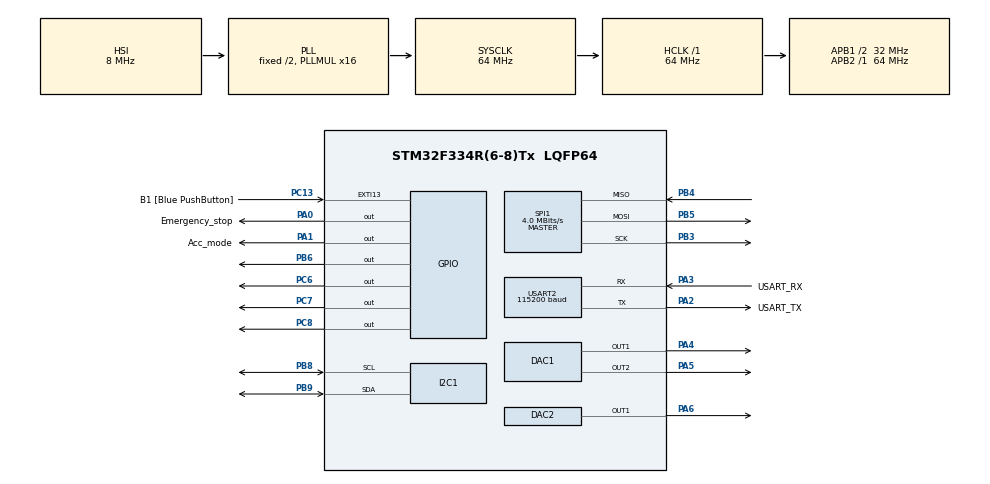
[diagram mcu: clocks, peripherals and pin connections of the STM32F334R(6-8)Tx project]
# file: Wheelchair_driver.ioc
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DAC1.DAC_OutputBuffer=DAC_OUTPUTBUFFER_ENABLE
DAC1.DAC_Trigger=DAC_TRIGGER_NONE
Dma.DAC1_CH1.0.Direction=DMA_MEMORY_TO_PERIPH
Dma.DAC1_CH1.0.Instance=DMA1_Channel3
Dma.DAC1_CH1.0.MemDataAlignment=DMA_MDATAALIGN_HALFWORD
Dma.DAC1_CH1.0.MemInc=DMA_MINC_ENABLE
Dma.DAC1_CH1.0.Mode=DMA_CIRCULAR
Dma.DAC1_CH1.0.PeriphDataAlignment=DMA_PDATAALIGN_HALFWORD
Dma.DAC1_CH1.0.PeriphInc=DMA_PINC_DISABLE
Dma.DAC1_CH1.0.Priority=DMA_PRIORITY_HIGH
Dma.DAC1_CH2.1.Direction=DMA_MEMORY_TO_PERIPH
Dma.DAC1_CH2.1.Instance=DMA1_Channel4
Dma.DAC1_CH2.1.MemDataAlignment=DMA_MDATAALIGN_HALFWORD
Dma.DAC1_CH2.1.MemInc=DMA_MINC_ENABLE
Dma.DAC1_CH2.1.Mode=DMA_CIRCULAR
Dma.DAC1_CH2.1.PeriphDataAlignment=DMA_PDATAALIGN_HALFWORD
Dma.DAC1_CH2.1.PeriphInc=DMA_PINC_DISABLE
Dma.DAC1_CH2.1.Priority=DMA_PRIORITY_HIGH
Dma.DAC2_CH1.2.Direction=DMA_MEMORY_TO_PERIPH
Dma.DAC2_CH1.2.Instance=DMA1_Channel5
Dma.DAC2_CH1.2.MemDataAlignment=DMA_MDATAALIGN_HALFWORD
Dma.DAC2_CH1.2.MemInc=DMA_MINC_ENABLE
Dma.DAC2_CH1.2.Mode=DMA_CIRCULAR
Dma.DAC2_CH1.2.PeriphDataAlignment=DMA_PDATAALIGN_HALFWORD
Dma.DAC2_CH1.2.PeriphInc=DMA_PINC_DISABLE
Dma.DAC2_CH1.2.Priority=DMA_PRIORITY_LOW
Dma.Request0=DAC1_CH1
Dma.Request1=DAC1_CH2
Dma.Request2=DAC2_CH1
I2C1.DualAddressMode=I2C_DUALADDRESS_DISABLE
I2C1.GeneralCallMode=I2C_GENERALCALL_DISABLE
I2C1.NoStretchMode=I2C_NOSTRETCH_DISABLE
I2C1.OwnAddress=68
I2C1.Speed=100
Mcu.Family=STM32F3
Mcu.Name=STM32F334R(6-8)Tx
Mcu.Package=LQFP64
NVIC.DMA1_Channel3_IRQn=true\:0\:0\:false\:false\:true\:false\:true\:true
NVIC.DMA1_Channel4_IRQn=true\:0\:0\:false\:false\:true\:false\:true\:true
NVIC.DMA1_Channel5_IRQn=true\:0\:0\:false\:false\:true\:false\:true\:true
NVIC.PriorityGroup=NVIC_PRIORITYGROUP_0
PA0.GPIO_Label=Emergency_stop
PA0.GPIO_ModeDefaultOutputPP=GPIO_MODE_OUTPUT_OD
PA0.GPIO_PuPd=GPIO_PULLUP
PA0.Signal=GPIO_Output
PA1.GPIO_Label=Acc_mode
PA1.GPIO_ModeDefaultOutputPP=GPIO_MODE_OUTPUT_OD
PA1.GPIO_PuPd=GPIO_PULLUP
PA1.Signal=GPIO_Output
PA13.GPIO_Label=TMS
PA13.Mode=Serial_Wire
PA13.Signal=SYS_JTMS-SWDIO
PA14.GPIO_Label=TCK
PA14.Mode=Serial_Wire
PA14.Signal=SYS_JTCK-SWCLK
PA2.GPIO_Label=USART_TX
PA2.Mode=Asynchronous
PA2.Signal=USART2_TX
PA3.GPIO_Label=USART_RX
PA3.Mode=Asynchronous
PA3.Signal=USART2_RX
PA4.Signal=COMP_DAC11_group
PA5.Signal=COMP_DAC12_group
PA6.Signal=COMP_DAC21_group
PB3.Mode=Full_Duplex_Master
PB3.Signal=SPI1_SCK
PB4.Mode=Full_Duplex_Master
PB4.Signal=SPI1_MISO
PB5.Mode=Full_Duplex_Master
PB5.Signal=SPI1_MOSI
PB6.GPIO_FM6=__NULL
PB6.GPIO_Speed=GPIO_SPEED_FREQ_LOW
PB6.Signal=GPIO_Output
PB8.GPIO_FM8=__NULL
PB8.GPIO_Pu=GPIO_NOPULL
PB8.GPIO_Speed=GPIO_SPEED_FREQ_LOW
PB8.Mode=I2C
PB8.Signal=I2C1_SCL
PB9.GPIO_FM9=__NULL
PB9.GPIO_Pu=GPIO_NOPULL
PB9.GPIO_Speed=GPIO_SPEED_FREQ_LOW
PB9.Mode=I2C
PB9.Signal=I2C1_SDA
PC13.GPIO_Label=B1 [Blue PushButton]
PC13.GPIO_ModeDefaultEXTI=GPIO_MODE_IT_FALLING
PC13.Signal=GPXTI13
PC14\ /\ OSC32_IN.Signal=RCC_OSC32_IN
PC15\ /\ OSC32_OUT.GPIO_Label=RCC_OSC32_OUT
PC15\ /\ OSC32_OUT.Signal=RCC_OSC32_OUT
PC6.GPIO_PuPd=GPIO_NOPULL
PC6.GPIO_Speed=GPIO_SPEED_FREQ_LOW
PC6.Signal=GPIO_Output
PC7.Signal=GPIO_Output
PC8.GPIO_PuPd=GPIO_NOPULL
PC8.GPIO_Speed=GPIO_SPEED_FREQ_LOW
PC8.Signal=GPIO_Output
PF0\ /\ OSC_IN.Mode=HSE-External-Clock-Source
PF0\ /\ OSC_IN.Signal=RCC_OSC_IN
PF1\ /\ OSC_OUT.Signal=RCC_OSC_OUT
ProjectManager.HeapSize=0x200
ProjectManager.StackSize=0x400
ProjectManager.TargetToolchain=STM32CubeIDE
RCC.AHBFreq_Value=64000000
RCC.APB1CLKDivider=RCC_HCLK_DIV2
RCC.APB1Freq_Value=32000000
RCC.APB1TimFreq_Value=64000000
RCC.APB2Freq_Value=64000000
RCC.APB2TimFreq_Value=64000000
RCC.CortexFreq_Value=64000000
RCC.FLatency-AdvancedSettings=FLASH_LATENCY_2
RCC.HCLKFreq_Value=64000000
RCC.HSE_VALUE=32000000
RCC.HSI_VALUE=8000000
RCC.LSE_VALUE=32768
RCC.PLLMUL=RCC_PLL_MUL16
RCC.SYSCLKFreq_VALUE=64000000
RCC.SYSCLKSourceVirtual=RCC_SYSCLKSOURCE_PLLCLK
SH.COMP_DAC11_group.0=DAC1_OUT1,DAC_OUT1
SH.COMP_DAC12_group.0=DAC1_OUT2,DAC_OUT2
SH.COMP_DAC21_group.0=DAC2_OUT1,Switch_Enable_OUT1
SPI1.BaudRatePrescaler=SPI_BAUDRATEPRESCALER_16
SPI1.CalculateBaudRate=4.0 MBits/s
SPI1.DataSize=SPI_DATASIZE_8BIT
SPI1.Direction=SPI_DIRECTION_2LINES
SPI1.Mode=SPI_MODE_MASTER
SPI1.VirtualType=VM_MASTER
USART2.BaudRate=115200
USART2.VirtualMode-Asynchronous=VM_ASYNC
board=NUCLEO-F334R8

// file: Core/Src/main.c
/* USER CODE BEGIN Header */
/**
  ******************************************************************************
  * @file           : main.c
  * @brief          : Main program body
  ******************************************************************************
  * @attention
  *
  * Copyright (c) 2022 STMicroelectronics.
  * All rights reserved.
  *
  * This software is licensed under terms that can be found in the LICENSE file
  * in the root directory of this software component.
  * If no LICENSE file comes with this software, it is provided AS-IS.
  *
  ******************************************************************************
  */
/* USER CODE END Header */
#include "main.h"

/* USER CODE BEGIN Includes */

#include "stdio.h"
#include "math.h"
#include "stdlib.h"
#include "string.h"
#include "stm32f3xx_hal.h"
#include "NRF24L01.h"

#define sensor_1_select GPIO_PIN_6
#define sensor_2_select GPIO_PIN_8

/* USER CODE END Includes */

DAC_HandleTypeDef hdac1;
DAC_HandleTypeDef hdac2;
DMA_HandleTypeDef hdma_dac1_ch1;
DMA_HandleTypeDef hdma_dac1_ch2;
DMA_HandleTypeDef hdma_dac2_ch1;

I2C_HandleTypeDef hi2c1;

SPI_HandleTypeDef hspi1;

UART_HandleTypeDef huart2;

void SystemClock_Config(void);
static void MX_GPIO_Init(void);
static void MX_DMA_Init(void);
static void MX_USART2_UART_Init(void);
static void MX_DAC1_Init(void);
static void MX_I2C1_Init(void);
static void MX_SPI1_Init(void);
static void MX_DAC2_Init(void);

/* USER CODE BEGIN 0 */

#define MPU6050_ADDR 0xD0

#define SMPLRT_DIV_REG 0x19
#define GYRO_CONFIG_REG 0x1B
#define ACCEL_CONFIG_REG 0x1C
#define ACCEL_XOUT_H_REG 0x3B
#define TEMP_OUT_H_REG 0x41
#define GYRO_XOUT_H_REG 0x43
#define PWR_MGMT_1_REG 0x6B
#define WHO_AM_I_REG 0x75

int16_t Accel_X_RAW = 0;
int16_t Accel_Y_RAW = 0;
int16_t Accel_Z_RAW = 0;

int16_t Gyro_X_RAW = 0;
int16_t Gyro_Y_RAW = 0;
int16_t Gyro_Z_RAW = 0;

float Ax, Ay, Az, Gx, Gy, Gz;

void MPU6050_Init (void)
{
	uint8_t check;
	uint8_t Data;

	// check device ID WHO_AM_I

	HAL_I2C_Mem_Read (&hi2c1, MPU6050_ADDR,WHO_AM_I_REG,1, &check, 1, 1000);

	if (check == 104)  // 0x68 will be returned by the first sensor if everything goes well
	{
		// power management register 0X6B we should write all 0's to wake the sensor up
		Data = 0;
		HAL_I2C_Mem_Write(&hi2c1, MPU6050_ADDR, PWR_MGMT_1_REG, 1,&Data, 1, 1000);

		// Set DATA RATE of 1KHz by writing SMPLRT_DIV register
		Data = 0x07;
		HAL_I2C_Mem_Write(&hi2c1, MPU6050_ADDR, SMPLRT_DIV_REG, 1, &Data, 1, 1000);

		// Set accelerometer configuration in ACCEL_CONFIG Register
		// XA_ST=0,YA_ST=0,ZA_ST=0, FS_SEL=0 -> ± 2g
		Data = 0x00;
		HAL_I2C_Mem_Write(&hi2c1, MPU6050_ADDR, ACCEL_CONFIG_REG, 1, &Data, 1, 1000);

		// Set Gyroscopic configuration in GYRO_CONFIG Register
		// XG_ST=0,YG_ST=0,ZG_ST=0, FS_SEL=0 -> ± 250 °/s
		Data = 0x00;
		HAL_I2C_Mem_Write(&hi2c1, MPU6050_ADDR, GYRO_CONFIG_REG, 1, &Data, 1, 1000);
	}
}

void MPU6050_Read_Accel (void)
{
	uint8_t Rec_Data[6];

	// Read 6 BYTES of data starting from ACCEL_XOUT_H register

			HAL_I2C_Mem_Read (&hi2c1, MPU6050_ADDR, ACCEL_XOUT_H_REG, 1, Rec_Data, 6, 1000);

			Accel_X_RAW = (int16_t)(Rec_Data[0] << 8 | Rec_Data [1]);
			Accel_Y_RAW = (int16_t)(Rec_Data[2] << 8 | Rec_Data [3]);
			Accel_Z_RAW = (int16_t)(Rec_Data[4] << 8 | Rec_Data [5]);

	/*** convert the RAW values into acceleration in 'g'
	     we have to divide according to the Full scale value set in FS_SEL
	     I have configured FS_SEL = 0. So I am dividing by 16384.0
	     for more details check ACCEL_CONFIG Register              ****/

	Ax = Accel_X_RAW/16384.0;
	Ay = Accel_Y_RAW/16384.0;
	Az = Accel_Z_RAW/16384.0;

}

void MPU6050_Read_Gyro (void)
{
	uint8_t Rec_Data[6];

	// Read 6 BYTES of data starting from GYRO_XOUT_H register

	HAL_I2C_Mem_Read (&hi2c1, MPU6050_ADDR, GYRO_XOUT_H_REG, 1, Rec_Data, 6, 1000);

	Gyro_X_RAW = (int16_t)(Rec_Data[0] << 8 | Rec_Data [1]);
	Gyro_Y_RAW = (int16_t)(Rec_Data[2] << 8 | Rec_Data [3]);
	Gyro_Z_RAW = (int16_t)(Rec_Data[4] << 8 | Rec_Data [5]);

	/*** convert the RAW values into dps (°/s)
	     we have to divide according to the Full scale value set in FS_SEL
	     I have configured FS_SEL = 0. So I am dividing by 131.0
	     for more details check GYRO_CONFIG Register              ****/

	Gx = Gyro_X_RAW/131.0;
	Gy = Gyro_Y_RAW/131.0;
	Gz = Gyro_Z_RAW/131.0;

}

uint8_t RxAddress[] = {0xEE,0xDD,0xCC,0xBB,0xAA};		//Define NRF24L01 communication variables
uint8_t RxData[32];
uint8_t data[50];

uint8_t TxAddress[] = {0xEE,0xDD,0xCC,0xBB,0xAA};
uint8_t TxData[6];

/* USER CODE END 0 */

int main(void)
{
  /* USER CODE BEGIN 1 */
	//uint8_t MSG[150] = {'\0'};

	double Emergency_stop = 0, x_in = 0, y_in = 0, Acc_mode = 0, step = 0, reset = 0;

	//ADC filter variables

	int M = 10;									//Filter length
	double xM1[M], yM1[M];
	double xf = 0, yf = 0, Vo_L = 0, Vo_R = 0, angle_scale = 0;

  /* USER CODE END 1 */

  /* MCU Configuration--------------------------------------------------------*/

  /* Reset of all peripherals, Initializes the Flash interface and the Systick. */
  HAL_Init();

  /* Configure the system clock */
  SystemClock_Config();

  /* Initialize all configured peripherals */
  MX_GPIO_Init();
  MX_DMA_Init();
  MX_USART2_UART_Init();
  MX_DAC1_Init();
  MX_I2C1_Init();
  MX_SPI1_Init();
  MX_DAC2_Init();
  /* USER CODE BEGIN 2 */

  MPU6050_Init();
  HAL_DAC_Start_DMA(&hdac1, DAC_CHANNEL_1, (uint32_t)Vo_L, 2, DAC_ALIGN_12B_R);
  HAL_DAC_Start_DMA(&hdac2, DAC_CHANNEL_1, (uint32_t)Vo_R, 2, DAC_ALIGN_12B_R);

  /* USER CODE END 2 */

  /* Infinite loop */
  while (1)
  {

    /* USER CODE BEGIN 3 */

/***************************************************************************************************************************************************************************************/
/***************************************************************************************************************************************************************************************/

	  //Sensor input data

	  HAL_GPIO_WritePin(GPIOC, sensor_1_select, GPIO_PIN_SET);		//Select sensor 1 address
	  HAL_GPIO_WritePin(GPIOC, sensor_2_select, GPIO_PIN_RESET);		//Reset sensor 2 address
	  HAL_Delay(50);													//Let pins settle
	  MPU6050_Read_Accel();											//Read sensor 1 accelerometer data

	  TxData[0] = (uint8_t)((Ax*63.75)+127.5);
	  TxData[1] = (uint8_t)((Ay*63.75)+127.5);
	  TxData[2] = (uint8_t)((Az*63.75)+127.5);

	  HAL_GPIO_WritePin(GPIOC, sensor_1_select, GPIO_PIN_RESET);		//Reset sensor 1 address
	  HAL_GPIO_WritePin(GPIOC, sensor_2_select, GPIO_PIN_SET);		//Select sensor 2 address
	  HAL_Delay(1);													//Let pins settle
	  MPU6050_Read_Accel();											//Read sensor 2 accelerometer data

	  TxData[3] = (uint8_t)((Ax*63.75)+127.5);
	  TxData[4] = (uint8_t)((Ay*63.75)+127.5);
	  TxData[5] = (uint8_t)((Az*63.75)+127.5);

/***************************************************************************************************************************************************************************************/
/***************************************************************************************************************************************************************************************/

	  //Communication setup

	  	NRF24_Init();
		NRF24_RxMode(RxAddress, 10);
		NRF24_ReadAll(data);

		if (isDataAvailable(1) == 1)
			  		  {
			  			NRF24_Receive(RxData);

			  			Emergency_stop = RxData[0];
			  			x_in = RxData[1];
			  			y_in =RxData[2];
			  			Acc_mode = RxData[3];
			  			reset = RxData[4];
			  			step = RxData[5];

			  			if (Emergency_stop == 0){
			  				HAL_GPIO_WritePin(GPIOA, GPIO_PIN_1, GPIO_PIN_SET);
			  			}
			  			if (Emergency_stop == 1){
			  				HAL_GPIO_WritePin(GPIOA, GPIO_PIN_1, GPIO_PIN_RESET);
			  			}

			  			if (Acc_mode == 0){
			  				HAL_GPIO_WritePin(GPIOA, GPIO_PIN_0, GPIO_PIN_RESET);
			  			}
			  			else if (Acc_mode == 1){
			  				HAL_GPIO_WritePin(GPIOA, GPIO_PIN_0, GPIO_PIN_SET);
			  			}

			  			if (reset == 1){
			  				HAL_NVIC_SystemReset();
			  			}

			NRF24_Init();
			NRF24_TxMode(TxAddress, 10);
			NRF24_Transmit(TxData);

		  }

/***************************************************************************************************************************************************************************************/
/***************************************************************************************************************************************************************************************/

		//Moving average filter 1

			  double xtemp = 0, ytemp = 0;		//Declare temporary variables

			  for (int m = M - 1; m >= 0; m--){		//Use M-point arrays to store variable data
				  if (m > 0){						//For every instance other than the current time instant
					  xM1[m] = xM1[m-1];			//Shift values in array down by a single space
					  yM1[m] = yM1[m-1];
				  }
				  else if (m == 0){					//For only the current time instant
					  xM1[m] = x_in;				//Store the value in the single space made by shifting other variables
					  yM1[m] = (y_in - 127);
				  }

				  xtemp = xtemp + xM1[m];	//Sum of points
				  ytemp = ytemp + yM1[m];
			  }

			  xf = xtemp / M;
			  yf = ytemp / M;

/***************************************************************************************************************************************************************************************/
/***************************************************************************************************************************************************************************************/

			  //Motor output conversions

			  if (xf <= yf){
				  angle_scale = 4;
			  }
			  else if (xf > yf){
				  angle_scale = 2;
			  }
			  else if (xf > 2*yf){
				  angle_scale = 1;
			  }

			  int offset = 2000, multiplier = 1, max = 2750;

			  if (step == 0){
				  Vo_L = (multiplier * (xf + (yf / angle_scale))) + offset; //Max voltage and speed at 11x scaling constant.
				  Vo_R = (multiplier * (xf - (yf / angle_scale))) + offset; //With no offset
			  }

			  else if (step == 1){
				 Vo_L = max;
				 Vo_R = max;
			  }

			  HAL_DAC_SetValue(&hdac1, DAC_CHANNEL_1, DAC_ALIGN_12B_R, (uint32_t)Vo_L);
			  HAL_DAC_SetValue(&hdac1, DAC_CHANNEL_2, DAC_ALIGN_12B_R, (uint32_t)Vo_R);

/***************************************************************************************************************************************************************************************/
/***************************************************************************************************************************************************************************************/

	  			//sprintf(MSG, "\r\nA_x1 = %d  A_y1 = %d  A_z1 = %d\r\n\rA_x2 = %d  A_y2 = %d  A_z2 = %d\r\n", (int)Ax_1, (int)Ay_1, (int)Az_1, (int)Ax_2, (int)Ay_2, (int)Az_2);
	  			//HAL_UART_Transmit(&huart2, MSG, sizeof(MSG), 100);
	  			//HAL_Delay(10);
  }
  /* USER CODE END 3 */
}

void SystemClock_Config(void)
{
  RCC_OscInitTypeDef RCC_OscInitStruct = {0};
  RCC_ClkInitTypeDef RCC_ClkInitStruct = {0};
  RCC_PeriphCLKInitTypeDef PeriphClkInit = {0};

  /** Initializes the RCC Oscillators according to the specified parameters
  * in the RCC_OscInitTypeDef structure.
  */
  RCC_OscInitStruct.OscillatorType = RCC_OSCILLATORTYPE_HSI;
  RCC_OscInitStruct.HSIState = RCC_HSI_ON;
  RCC_OscInitStruct.HSICalibrationValue = RCC_HSICALIBRATION_DEFAULT;
  RCC_OscInitStruct.PLL.PLLState = RCC_PLL_ON;
  RCC_OscInitStruct.PLL.PLLSource = RCC_PLLSOURCE_HSI;
  RCC_OscInitStruct.PLL.PLLMUL = RCC_PLL_MUL16;
  if (HAL_RCC_OscConfig(&RCC_OscInitStruct) != HAL_OK)
  {
    Error_Handler();
  }

  /** Initializes the CPU, AHB and APB buses clocks
  */
  RCC_ClkInitStruct.ClockType = RCC_CLOCKTYPE_HCLK|RCC_CLOCKTYPE_SYSCLK
                              |RCC_CLOCKTYPE_PCLK1|RCC_CLOCKTYPE_PCLK2;
  RCC_ClkInitStruct.SYSCLKSource = RCC_SYSCLKSOURCE_PLLCLK;
  RCC_ClkInitStruct.AHBCLKDivider = RCC_SYSCLK_DIV1;
  RCC_ClkInitStruct.APB1CLKDivider = RCC_HCLK_DIV2;
  RCC_ClkInitStruct.APB2CLKDivider = RCC_HCLK_DIV1;

  if (HAL_RCC_ClockConfig(&RCC_ClkInitStruct, FLASH_LATENCY_2) != HAL_OK)
  {
    Error_Handler();
  }
  PeriphClkInit.PeriphClockSelection = RCC_PERIPHCLK_I2C1;
  PeriphClkInit.I2c1ClockSelection = RCC_I2C1CLKSOURCE_HSI;
  if (HAL_RCCEx_PeriphCLKConfig(&PeriphClkInit) != HAL_OK)
  {
    Error_Handler();
  }
}

static void MX_DAC1_Init(void)
{

  DAC_ChannelConfTypeDef sConfig = {0};

  /** DAC Initialization
  */
  hdac1.Instance = DAC1;
  if (HAL_DAC_Init(&hdac1) != HAL_OK)
  {
    Error_Handler();
  }

  /** DAC channel OUT1 config
  */
  sConfig.DAC_Trigger = DAC_TRIGGER_NONE;
  sConfig.DAC_OutputBuffer = DAC_OUTPUTBUFFER_ENABLE;
  if (HAL_DAC_ConfigChannel(&hdac1, &sConfig, DAC_CHANNEL_1) != HAL_OK)
  {
    Error_Handler();
  }

  /** DAC channel OUT2 config
  */
  sConfig.DAC_OutputSwitch = DAC_OUTPUTSWITCH_ENABLE;
  if (HAL_DAC_ConfigChannel(&hdac1, &sConfig, DAC_CHANNEL_2) != HAL_OK)
  {
    Error_Handler();
  }

}

static void MX_DAC2_Init(void)
{

  DAC_ChannelConfTypeDef sConfig = {0};

  /** DAC Initialization
  */
  hdac2.Instance = DAC2;
  if (HAL_DAC_Init(&hdac2) != HAL_OK)
  {
    Error_Handler();
  }

  /** DAC channel OUT1 config
  */
  sConfig.DAC_Trigger = DAC_TRIGGER_NONE;
  sConfig.DAC_OutputSwitch = DAC_OUTPUTSWITCH_ENABLE;
  if (HAL_DAC_ConfigChannel(&hdac2, &sConfig, DAC_CHANNEL_1) != HAL_OK)
  {
    Error_Handler();
  }

}

static void MX_I2C1_Init(void)
{

  hi2c1.Instance = I2C1;
  hi2c1.Init.Timing = 0x2000090E;
  hi2c1.Init.OwnAddress1 = 136;
  hi2c1.Init.AddressingMode = I2C_ADDRESSINGMODE_7BIT;
  hi2c1.Init.DualAddressMode = I2C_DUALADDRESS_DISABLE;
  hi2c1.Init.OwnAddress2 = 0;
  hi2c1.Init.OwnAddress2Masks = I2C_OA2_NOMASK;
  hi2c1.Init.GeneralCallMode = I2C_GENERALCALL_DISABLE;
  hi2c1.Init.NoStretchMode = I2C_NOSTRETCH_DISABLE;
  if (HAL_I2C_Init(&hi2c1) != HAL_OK)
  {
    Error_Handler();
  }

  /** Configure Analogue filter
  */
  if (HAL_I2CEx_ConfigAnalogFilter(&hi2c1, I2C_ANALOGFILTER_ENABLE) != HAL_OK)
  {
    Error_Handler();
  }

  /** Configure Digital filter
  */
  if (HAL_I2CEx_ConfigDigitalFilter(&hi2c1, 0) != HAL_OK)
  {
    Error_Handler();
  }

}

static void MX_SPI1_Init(void)
{

  /* SPI1 parameter configuration*/
  hspi1.Instance = SPI1;
  hspi1.Init.Mode = SPI_MODE_MASTER;
  hspi1.Init.Direction = SPI_DIRECTION_2LINES;
  hspi1.Init.DataSize = SPI_DATASIZE_8BIT;
  hspi1.Init.CLKPolarity = SPI_POLARITY_LOW;
  hspi1.Init.CLKPhase = SPI_PHASE_1EDGE;
  hspi1.Init.NSS = SPI_NSS_SOFT;
  hspi1.Init.BaudRatePrescaler = SPI_BAUDRATEPRESCALER_16;
  hspi1.Init.FirstBit = SPI_FIRSTBIT_MSB;
  hspi1.Init.TIMode = SPI_TIMODE_DISABLE;
  hspi1.Init.CRCCalculation = SPI_CRCCALCULATION_DISABLE;
  hspi1.Init.CRCPolynomial = 7;
  hspi1.Init.CRCLength = SPI_CRC_LENGTH_DATASIZE;
  hspi1.Init.NSSPMode = SPI_NSS_PULSE_ENABLE;
  if (HAL_SPI_Init(&hspi1) != HAL_OK)
  {
    Error_Handler();
  }

}

static void MX_USART2_UART_Init(void)
{

  huart2.Instance = USART2;
  huart2.Init.BaudRate = 115200;
  huart2.Init.WordLength = UART_WORDLENGTH_8B;
  huart2.Init.StopBits = UART_STOPBITS_1;
  huart2.Init.Parity = UART_PARITY_NONE;
  huart2.Init.Mode = UART_MODE_TX_RX;
  huart2.Init.HwFlowCtl = UART_HWCONTROL_NONE;
  huart2.Init.OverSampling = UART_OVERSAMPLING_16;
  huart2.Init.OneBitSampling = UART_ONE_BIT_SAMPLE_DISABLE;
  huart2.AdvancedInit.AdvFeatureInit = UART_ADVFEATURE_NO_INIT;
  if (HAL_UART_Init(&huart2) != HAL_OK)
  {
    Error_Handler();
  }

}

static void MX_DMA_Init(void)
{

  /* DMA controller clock enable */
  __HAL_RCC_DMA1_CLK_ENABLE();

  /* DMA interrupt init */
  /* DMA1_Channel3_IRQn interrupt configuration */
  HAL_NVIC_SetPriority(DMA1_Channel3_IRQn, 0, 0);
  HAL_NVIC_EnableIRQ(DMA1_Channel3_IRQn);
  /* DMA1_Channel4_IRQn interrupt configuration */
  HAL_NVIC_SetPriority(DMA1_Channel4_IRQn, 0, 0);
  HAL_NVIC_EnableIRQ(DMA1_Channel4_IRQn);
  /* DMA1_Channel5_IRQn interrupt configuration */
  HAL_NVIC_SetPriority(DMA1_Channel5_IRQn, 0, 0);
  HAL_NVIC_EnableIRQ(DMA1_Channel5_IRQn);

}

static void MX_GPIO_Init(void)
{
  GPIO_InitTypeDef GPIO_InitStruct = {0};

  /* GPIO Ports Clock Enable */
  __HAL_RCC_GPIOC_CLK_ENABLE();
  __HAL_RCC_GPIOF_CLK_ENABLE();
  __HAL_RCC_GPIOA_CLK_ENABLE();
  __HAL_RCC_GPIOB_CLK_ENABLE();

  /*Configure GPIO pin Output Level */
  HAL_GPIO_WritePin(GPIOA, Emergency_stop_Pin|Acc_mode_Pin, GPIO_PIN_RESET);

  /*Configure GPIO pin Output Level */
  HAL_GPIO_WritePin(GPIOC, GPIO_PIN_6|GPIO_PIN_7|GPIO_PIN_8, GPIO_PIN_RESET);

  /*Configure GPIO pin Output Level */
  HAL_GPIO_WritePin(GPIOB, GPIO_PIN_6, GPIO_PIN_RESET);

  /*Configure GPIO pin : B1_Pin */
  GPIO_InitStruct.Pin = B1_Pin;
  GPIO_InitStruct.Mode = GPIO_MODE_IT_FALLING;
  GPIO_InitStruct.Pull = GPIO_NOPULL;
  HAL_GPIO_Init(B1_GPIO_Port, &GPIO_InitStruct);

  /*Configure GPIO pins : Emergency_stop_Pin Acc_mode_Pin */
  GPIO_InitStruct.Pin = Emergency_stop_Pin|Acc_mode_Pin;
  GPIO_InitStruct.Mode = GPIO_MODE_OUTPUT_OD;
  GPIO_InitStruct.Pull = GPIO_PULLUP;
  GPIO_InitStruct.Speed = GPIO_SPEED_FREQ_LOW;
  HAL_GPIO_Init(GPIOA, &GPIO_InitStruct);

  /*Configure GPIO pins : PC6 PC7 PC8 */
  GPIO_InitStruct.Pin = GPIO_PIN_6|GPIO_PIN_7|GPIO_PIN_8;
  GPIO_InitStruct.Mode = GPIO_MODE_OUTPUT_PP;
  GPIO_InitStruct.Pull = GPIO_NOPULL;
  GPIO_InitStruct.Speed = GPIO_SPEED_FREQ_LOW;
  HAL_GPIO_Init(GPIOC, &GPIO_InitStruct);

  /*Configure GPIO pin : PB6 */
  GPIO_InitStruct.Pin = GPIO_PIN_6;
  GPIO_InitStruct.Mode = GPIO_MODE_OUTPUT_PP;
  GPIO_InitStruct.Pull = GPIO_NOPULL;
  GPIO_InitStruct.Speed = GPIO_SPEED_FREQ_LOW;
  HAL_GPIO_Init(GPIOB, &GPIO_InitStruct);

}

void Error_Handler(void)
{
  __disable_irq();
  while (1)
  {
  }
}
